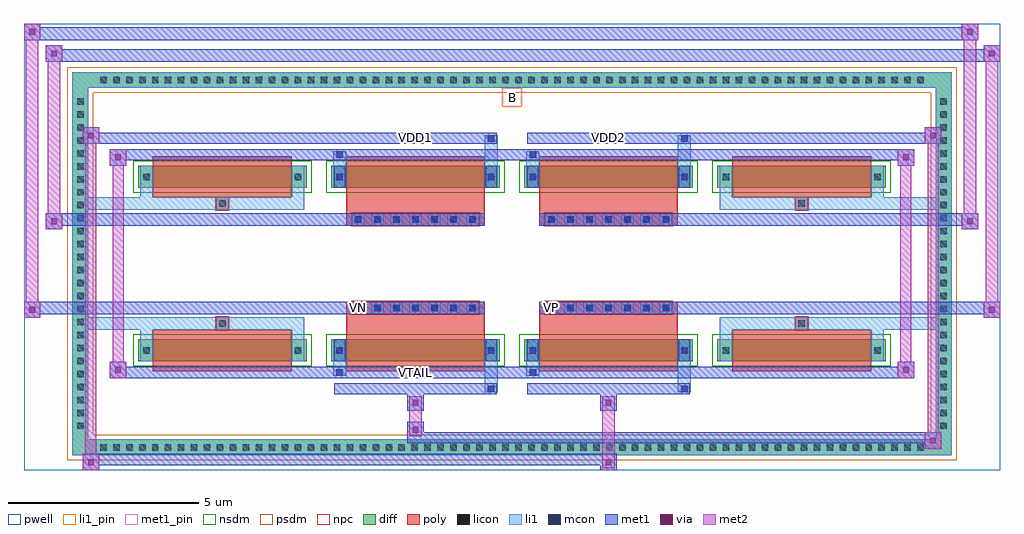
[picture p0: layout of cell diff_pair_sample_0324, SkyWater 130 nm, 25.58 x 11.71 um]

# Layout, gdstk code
import gdstk
lib = gdstk.Library(unit=1e-6, precision=5e-09)
def R(c, l, rs):  # rectangles x0, y0, x1, y1
    for r in rs: c.add(gdstk.rectangle(r[:2], r[2:], *l))
def A(c, l, x, y, w, h, nx, ny, dx, dy):  # array of equal rectangles
    R(c, l, [(x+i*dx, y+j*dy, x+i*dx+w, y+j*dy+h) for i in range(nx) for j in range(ny)])
def P(c, l, *ps):  # polygons
    for p in ps: c.add(gdstk.Polygon(p, *l))
pwell = (64, 44)
diff = (65, 20)
poly = (66, 20)
licon = (66, 44)
li1_pin = (67, 16)
li1 = (67, 20)
mcon = (67, 44)
met1_pin = (68, 16)
met1 = (68, 20)
via = (68, 44)
met2 = (69, 20)
nsdm = (93, 44)
psdm = (94, 20)
npc = (95, 20)

diff_pair_sample_0324 = lib.new_cell('diff_pair_sample_0324')
R(diff_pair_sample_0324, pwell, [(-12.79,-5.42,12.79,6.29), (-10.11,-3.61,-0.01,-0.795), (0.01,-3.61,10.11,-0.795), (-10.11,0.795,-0.01,3.61), (0.01,0.795,10.11,3.61)])
A(diff_pair_sample_0324, diff, -10.915, -5.02, 0.41, 0.41, 64, 2, 0.34, 9.63)
A(diff_pair_sample_0324, diff, -11.52, -4.455, 0.41, 0.41, 1, 26, 0, 0.34)
A(diff_pair_sample_0324, diff, 11.11, -4.455, 0.41, 0.41, 1, 26, 0, 0.34)
A(diff_pair_sample_0324, diff, -9.8, -2.565, 4.42, 0.58, 4, 2, 5.06, 4.55)
R(diff_pair_sample_0324, diff, [(-10.915,-5.02,10.915,-4.61), (-11.52,-4.455,-11.11,4.455), (11.11,-4.455,11.52,4.455), (-10.915,4.61,10.915,5.02)])
P(diff_pair_sample_0324, diff, [(11.52,5.02),(-11.52,5.02),(-11.52,-4.61),(-11.11,-4.61),(-11.11,4.61),(11.11,4.61),(11.11,-4.61),(-11.11,-4.61),(-11.52,-4.61),(-11.52,-5.02),(11.52,-5.02)])
A(diff_pair_sample_0324, poly, -9.41, -2.815, 3.64, 1.08, 4, 2, 5.06, 4.55)
A(diff_pair_sample_0324, poly, -4.195, -1.325, 0.33, 0.33, 7, 2, 0.5, 2.32)
A(diff_pair_sample_0324, poly, 0.865, -1.325, 0.33, 0.33, 7, 2, 0.5, 2.32)
R(diff_pair_sample_0324, poly, [(-7.755,-1.735,-7.425,-1.405), (-7.755,-1.735,-7.425,-1.405), (-4.35,-1.735,-0.71,-1.325), (0.71,-1.735,4.35,-1.325), (7.425,-1.735,7.755,-1.405), (7.425,-1.735,7.755,-1.405), (-4.35,-1.325,-0.71,-0.995), (0.71,-1.325,4.35,-0.995), (-4.35,0.995,-0.71,1.325), (0.71,0.995,4.35,1.325), (-4.35,1.325,-0.71,1.735), (0.71,1.325,4.35,1.735), (-7.755,1.405,-7.425,1.735), (-7.755,1.405,-7.425,1.735), (7.425,1.405,7.755,1.735), (7.425,1.405,7.755,1.735)])
A(diff_pair_sample_0324, licon, -10.795, -4.9, 0.17, 0.17, 64, 2, 0.34, 9.63)
A(diff_pair_sample_0324, licon, -11.4, -4.335, 0.17, 0.17, 1, 26, 0, 0.34)
A(diff_pair_sample_0324, licon, 11.23, -4.335, 0.17, 0.17, 1, 26, 0, 0.34)
A(diff_pair_sample_0324, licon, -4.115, -1.245, 0.17, 0.17, 7, 2, 0.5, 2.32)
A(diff_pair_sample_0324, licon, 0.945, -1.245, 0.17, 0.17, 7, 2, 0.5, 2.32)
R(diff_pair_sample_0324, licon, [(-9.66,-2.36,-9.49,-2.19), (-5.69,-2.36,-5.52,-2.19), (-4.6,-2.36,-4.43,-2.19), (-0.63,-2.36,-0.46,-2.19), (0.46,-2.36,0.63,-2.19), (4.43,-2.36,4.6,-2.19), (5.52,-2.36,5.69,-2.19), (9.49,-2.36,9.66,-2.19), (-7.675,-1.655,-7.505,-1.485), (7.505,-1.655,7.675,-1.485), (-7.675,1.485,-7.505,1.655), (7.505,1.485,7.675,1.655), (-9.66,2.19,-9.49,2.36), (-5.69,2.19,-5.52,2.36), (-4.6,2.19,-4.43,2.36), (-0.63,2.19,-0.46,2.36), (0.46,2.19,0.63,2.36), (4.43,2.19,4.6,2.36), (5.52,2.19,5.69,2.36), (9.49,2.19,9.66,2.36)])
R(diff_pair_sample_0324, li1_pin, [(-0.25,4.11,0.25,4.61)])
A(diff_pair_sample_0324, li1, -10.875, -4.98, 0.33, 0.33, 64, 2, 0.34, 9.63)
A(diff_pair_sample_0324, li1, -11.48, -4.415, 0.33, 0.33, 1, 26, 0, 0.34)
A(diff_pair_sample_0324, li1, 11.15, -4.415, 0.33, 0.33, 1, 26, 0, 0.34)
A(diff_pair_sample_0324, li1, -4.195, -1.325, 0.33, 0.33, 7, 2, 0.5, 2.32)
A(diff_pair_sample_0324, li1, 0.865, -1.325, 0.33, 0.33, 7, 2, 0.5, 2.32)
R(diff_pair_sample_0324, li1, [(-11.52,-5.02,-11.11,-4.61), (-11.52,-5.02,-11.11,-4.61), (-11.11,-5.02,11.11,-4.61), (11.11,-5.02,11.52,-4.61), (11.11,-5.02,11.52,-4.61), (-11.52,-4.61,-11.11,4.61), (11.11,-4.61,11.52,4.61), (-0.71,-3.37,-0.38,-2.565), (-0.63,-3.37,-0.46,-3.2), (4.35,-3.37,4.68,-2.565), (4.43,-3.37,4.6,-3.2), (-4.68,-2.94,-4.35,-2.565), (-4.6,-2.94,-4.43,-2.77), (0.38,-2.94,0.71,-2.565), (0.46,-2.94,0.63,-2.77), (-9.74,-2.565,-9.41,-1.985), (-5.77,-2.565,-5.44,-1.985), (-4.68,-2.565,-4.35,-1.985), (-0.71,-2.565,-0.38,-1.985), (0.38,-2.565,0.71,-1.985), (4.35,-2.565,4.68,-1.985), (5.44,-2.565,5.77,-1.985), (9.41,-2.565,9.74,-1.985), (-9.74,-2.44,-9.41,-2.11), (-5.77,-2.44,-5.44,-2.11), (-4.68,-2.44,-4.35,-2.11), (-0.71,-2.44,-0.38,-2.11), (0.38,-2.44,0.71,-2.11), (4.35,-2.44,4.68,-2.11), (5.44,-2.44,5.77,-2.11), (9.41,-2.44,9.74,-2.11), (-4.6,-2.36,-4.43,-2.19), (-4.6,-2.36,-4.43,-2.19), (-0.63,-2.36,-0.46,-2.19), (-0.63,-2.36,-0.46,-2.19), (0.46,-2.36,0.63,-2.19), (0.46,-2.36,0.63,-2.19), (4.43,-2.36,4.6,-2.19), (4.43,-2.36,4.6,-2.19), (-9.74,-1.985,-9.41,-1.405), (-5.77,-1.985,-5.44,-1.405), (5.44,-1.985,5.77,-1.405), (9.41,-1.985,9.74,-1.405), (-11.52,-1.735,-7.755,-1.405), (-9.74,-1.735,-7.755,-1.405), (-7.755,-1.735,-7.425,-1.405), (-7.425,-1.735,-5.44,-1.405), (5.44,-1.735,7.425,-1.405), (7.425,-1.735,7.755,-1.405), (7.425,-1.735,11.52,-1.405), (7.755,-1.735,9.74,-1.405), (-11.52,1.405,-7.755,1.735), (-9.74,1.405,-9.41,1.985), (-9.74,1.405,-7.755,1.735), (-7.755,1.405,-7.425,1.735), (-7.425,1.405,-5.44,1.735), (-5.77,1.405,-5.44,1.985), (5.44,1.405,5.77,1.985), (5.44,1.405,7.425,1.735), (7.425,1.405,7.755,1.735), (7.425,1.405,11.52,1.735), (7.755,1.405,9.74,1.735), (9.41,1.405,9.74,1.985), (-9.74,1.985,-9.41,2.565), (-5.77,1.985,-5.44,2.565), (-4.68,1.985,-4.35,2.565), (-0.71,1.985,-0.38,2.565), (0.38,1.985,0.71,2.565), (4.35,1.985,4.68,2.565), (5.44,1.985,5.77,2.565), (9.41,1.985,9.74,2.565), (-9.74,2.11,-9.41,2.44), (-5.77,2.11,-5.44,2.44), (-4.68,2.11,-4.35,2.44), (-0.71,2.11,-0.38,2.44), (0.38,2.11,0.71,2.44), (4.35,2.11,4.68,2.44), (5.44,2.11,5.77,2.44), (9.41,2.11,9.74,2.44), (-4.6,2.19,-4.43,2.36), (-4.6,2.19,-4.43,2.36), (-0.63,2.19,-0.46,2.36), (-0.63,2.19,-0.46,2.36), (0.46,2.19,0.63,2.36), (0.46,2.19,0.63,2.36), (4.43,2.19,4.6,2.36), (4.43,2.19,4.6,2.36), (-4.68,2.565,-4.35,2.94), (-0.71,2.565,-0.38,3.37), (0.38,2.565,0.71,2.94), (4.35,2.565,4.68,3.37), (-4.6,2.77,-4.43,2.94), (0.46,2.77,0.63,2.94), (-0.63,3.2,-0.46,3.37), (4.43,3.2,4.6,3.37), (-11.52,4.61,-11.11,5.02), (-11.52,4.61,-11.11,5.02), (-11.11,4.61,11.11,5.02), (11.11,4.61,11.52,5.02), (11.11,4.61,11.52,5.02)])
A(diff_pair_sample_0324, mcon, -4.115, -1.245, 0.17, 0.17, 7, 2, 0.5, 2.32)
A(diff_pair_sample_0324, mcon, 0.945, -1.245, 0.17, 0.17, 7, 2, 0.5, 2.32)
R(diff_pair_sample_0324, mcon, [(-0.63,-3.37,-0.46,-3.2), (4.43,-3.37,4.6,-3.2), (-4.6,-2.94,-4.43,-2.77), (0.46,-2.94,0.63,-2.77), (-4.6,-2.36,-4.43,-2.19), (-0.63,-2.36,-0.46,-2.19), (0.46,-2.36,0.63,-2.19), (4.43,-2.36,4.6,-2.19), (-4.6,2.19,-4.43,2.36), (-0.63,2.19,-0.46,2.36), (0.46,2.19,0.63,2.36), (4.43,2.19,4.6,2.36), (-4.6,2.77,-4.43,2.94), (0.46,2.77,0.63,2.94), (-0.63,3.2,-0.46,3.37), (4.43,3.2,4.6,3.37)])
R(diff_pair_sample_0324, met1_pin, [(-2.665,-2.98,-2.395,-2.71), (-4.165,-1.285,-3.895,-1.015), (0.895,-1.285,1.165,-1.015), (-2.665,3.16,-2.395,3.43), (2.395,3.16,2.665,3.43)])
A(diff_pair_sample_0324, met1, -4.175, -1.305, 0.29, 0.29, 7, 2, 0.5, 2.32)
A(diff_pair_sample_0324, met1, 0.885, -1.305, 0.29, 0.29, 7, 2, 0.5, 2.32)
R(diff_pair_sample_0324, met1, [(-11.25,-5.42,-10.82,-4.99), (2.315,-5.42,2.745,-4.99), (-11.25,-5.28,2.745,-4.99), (10.82,-4.85,11.25,-4.42), (-2.745,-4.71,11.25,-4.42), (-2.745,-4.57,-2.315,-4.14), (-2.745,-3.86,-2.315,-3.43), (2.315,-3.86,2.745,-3.43), (-4.66,-3.43,-0.4,-3.14), (-0.69,-3.43,-0.4,-3.14), (0.4,-3.43,4.66,-3.14), (4.37,-3.43,4.66,-3.14), (-10.54,-3,-10.11,-2.57), (-10.54,-3,-4.66,-2.71), (-4.66,-3,-4.37,-2.71), (-4.66,-3,-0.4,-2.71), (-0.4,-3,0.4,-2.71), (0.4,-3,0.69,-2.71), (0.4,-3,4.66,-2.71), (4.66,-3,10.54,-2.71), (10.11,-3,10.54,-2.57), (-4.66,-2.565,-4.37,-1.985), (-0.69,-2.565,-0.4,-1.985), (0.4,-2.565,0.69,-1.985), (4.37,-2.565,4.66,-1.985), (-4.66,-2.42,-4.37,-2.13), (-0.69,-2.42,-0.4,-2.13), (0.4,-2.42,0.69,-2.13), (4.37,-2.42,4.66,-2.13), (-12.79,-1.425,-12.36,-0.995), (12.36,-1.425,12.79,-0.995), (-12.79,-1.325,-0.71,-0.995), (-4.35,-1.325,-0.71,-0.995), (0.71,-1.325,4.35,-0.995), (0.71,-1.325,12.79,-0.995), (-12.22,0.895,-11.79,1.325), (11.79,0.895,12.22,1.325), (-12.22,0.995,-4.35,1.325), (-4.35,0.995,-0.71,1.325), (0.71,0.995,4.35,1.325), (4.35,0.995,12.22,1.325), (-4.66,1.985,-4.37,2.565), (-0.69,1.985,-0.4,2.565), (0.4,1.985,0.69,2.565), (4.37,1.985,4.66,2.565), (-4.66,2.13,-4.37,2.42), (-0.69,2.13,-0.4,2.42), (0.4,2.13,0.69,2.42), (4.37,2.13,4.66,2.42), (-10.54,2.57,-10.11,3), (10.11,2.57,10.54,3), (-10.54,2.71,-4.66,3), (-4.66,2.71,-4.37,3), (-4.66,2.71,-0.4,3), (-0.4,2.71,0.4,3), (0.4,2.71,0.69,3), (0.4,2.71,4.66,3), (4.66,2.71,10.54,3), (-11.25,3.14,-10.82,3.57), (-11.25,3.14,-4.66,3.43), (-4.66,3.14,-0.4,3.43), (-0.69,3.14,-0.4,3.43), (0.4,3.14,4.66,3.43), (4.37,3.14,4.66,3.43), (4.66,3.14,11.25,3.43), (10.82,3.14,11.25,3.57), (-12.22,5.29,-11.79,5.72), (-12.22,5.29,-10.11,5.62), (-10.11,5.29,10.11,5.62), (10.11,5.29,12.79,5.62), (12.36,5.29,12.79,5.72), (-12.79,5.86,-12.36,6.29), (-12.79,5.86,-10.11,6.19), (-10.11,5.86,10.11,6.19), (10.11,5.86,12.22,6.19), (11.79,5.86,12.22,6.29)])
R(diff_pair_sample_0324, via, [(-11.11,-5.28,-10.96,-5.13), (2.455,-5.28,2.605,-5.13), (10.96,-4.71,11.11,-4.56), (-2.605,-4.43,-2.455,-4.28), (-2.605,-3.72,-2.455,-3.57), (2.455,-3.72,2.605,-3.57), (-10.4,-2.86,-10.25,-2.71), (10.25,-2.86,10.4,-2.71), (-12.65,-1.285,-12.5,-1.135), (12.5,-1.285,12.65,-1.135), (-12.08,1.035,-11.93,1.185), (11.93,1.035,12.08,1.185), (-10.4,2.71,-10.25,2.86), (10.25,2.71,10.4,2.86), (-11.11,3.28,-10.96,3.43), (10.96,3.28,11.11,3.43), (-12.08,5.43,-11.93,5.58), (12.5,5.43,12.65,5.58), (-12.65,6,-12.5,6.15), (11.93,6,12.08,6.15)])
R(diff_pair_sample_0324, met2, [(-11.25,-5.42,-10.82,-4.99), (-11.18,-5.42,-10.89,3.57), (-10.89,-5.42,-10.82,-4.99), (-11.2,-5.37,-10.87,-5.04), (2.365,-5.37,2.695,-5.04), (2.365,-5.04,2.695,-3.81), (10.82,-4.85,11.25,-4.42), (10.89,-4.85,11.18,3.57), (11.18,-4.85,11.25,-4.42), (10.87,-4.8,11.2,-4.47), (-2.695,-4.52,-2.365,-4.19), (-2.695,-4.19,-2.365,-3.81), (-2.695,-3.81,-2.365,-3.48), (2.365,-3.81,2.695,-3.48), (-10.54,-3,-10.11,-2.57), (-10.47,-3,-10.18,3), (-10.18,-3,-10.11,-2.57), (10.11,-3,10.54,-2.57), (10.18,-3,10.47,3), (10.47,-3,10.54,-2.57), (-10.49,-2.95,-10.16,-2.62), (10.16,-2.95,10.49,-2.62), (-12.79,-1.425,-12.36,-0.995), (-12.74,-1.425,-12.41,6.29), (-12.41,-1.425,-12.36,-0.995), (12.36,-1.425,12.79,-0.995), (12.41,-1.425,12.74,5.72), (12.74,-1.425,12.79,-0.995), (-12.74,-1.375,-12.41,-1.045), (12.41,-1.375,12.74,-1.045), (-12.22,0.895,-11.79,1.325), (-12.17,0.895,-11.84,5.72), (-11.84,0.895,-11.79,1.325), (11.79,0.895,12.22,1.325), (11.84,0.895,12.17,6.29), (12.17,0.895,12.22,1.325), (-12.17,0.945,-11.84,1.275), (11.84,0.945,12.17,1.275), (-10.54,2.57,-10.11,3), (-10.18,2.57,-10.11,3), (10.11,2.57,10.54,3), (10.47,2.57,10.54,3), (-10.49,2.62,-10.16,2.95), (10.16,2.62,10.49,2.95), (-11.25,3.14,-10.82,3.57), (-10.89,3.14,-10.82,3.57), (10.82,3.14,11.25,3.57), (11.18,3.14,11.25,3.57), (-11.2,3.19,-10.87,3.52), (10.87,3.19,11.2,3.52), (-12.22,5.29,-11.79,5.72), (-11.84,5.29,-11.79,5.72), (12.36,5.29,12.79,5.72), (12.74,5.29,12.79,5.72), (-12.17,5.34,-11.84,5.67), (12.41,5.34,12.74,5.67), (-12.79,5.86,-12.36,6.29), (-12.41,5.86,-12.36,6.29), (11.79,5.86,12.22,6.29), (12.17,5.86,12.22,6.29), (-12.74,5.91,-12.41,6.24), (11.84,5.91,12.17,6.24)])
A(diff_pair_sample_0324, nsdm, -9.93, -2.695, 4.68, 0.84, 4, 2, 5.06, 4.55)
P(diff_pair_sample_0324, psdm, [(11.65,5.15),(-11.65,5.15),(-11.65,-4.48),(-10.98,-4.48),(-10.98,4.48),(10.98,4.48),(10.98,-4.48),(-10.98,-4.48),(-11.65,-4.48),(-11.65,-5.15),(11.65,-5.15)])
A(diff_pair_sample_0324, npc, -4.215, -1.345, 0.37, 0.37, 7, 2, 0.5, 2.32)
A(diff_pair_sample_0324, npc, 0.845, -1.345, 0.37, 0.37, 7, 2, 0.5, 2.32)
R(diff_pair_sample_0324, npc, [(-7.775,-1.755,-7.405,-1.385), (7.405,-1.755,7.775,-1.385), (-4.215,-1.345,-3.345,-0.975), (-4.215,-1.345,-3.345,-0.975), (-3.715,-1.345,-2.845,-0.975), (-3.715,-1.345,-2.845,-0.975), (-3.215,-1.345,-2.345,-0.975), (-3.215,-1.345,-2.345,-0.975), (-2.715,-1.345,-1.845,-0.975), (-2.715,-1.345,-1.845,-0.975), (-2.215,-1.345,-1.345,-0.975), (-2.215,-1.345,-1.345,-0.975), (-1.715,-1.345,-0.845,-0.975), (-1.715,-1.345,-0.845,-0.975), (0.845,-1.345,1.715,-0.975), (0.845,-1.345,1.715,-0.975), (1.345,-1.345,2.215,-0.975), (1.345,-1.345,2.215,-0.975), (1.845,-1.345,2.715,-0.975), (1.845,-1.345,2.715,-0.975), (2.345,-1.345,3.215,-0.975), (2.345,-1.345,3.215,-0.975), (2.845,-1.345,3.715,-0.975), (2.845,-1.345,3.715,-0.975), (3.345,-1.345,4.215,-0.975), (3.345,-1.345,4.215,-0.975), (-4.215,0.975,-3.345,1.345), (-4.215,0.975,-3.345,1.345), (-3.715,0.975,-2.845,1.345), (-3.715,0.975,-2.845,1.345), (-3.215,0.975,-2.345,1.345), (-3.215,0.975,-2.345,1.345), (-2.715,0.975,-1.845,1.345), (-2.715,0.975,-1.845,1.345), (-2.215,0.975,-1.345,1.345), (-2.215,0.975,-1.345,1.345), (-1.715,0.975,-0.845,1.345), (-1.715,0.975,-0.845,1.345), (0.845,0.975,1.715,1.345), (0.845,0.975,1.715,1.345), (1.345,0.975,2.215,1.345), (1.345,0.975,2.215,1.345), (1.845,0.975,2.715,1.345), (1.845,0.975,2.715,1.345), (2.345,0.975,3.215,1.345), (2.345,0.975,3.215,1.345), (2.845,0.975,3.715,1.345), (2.845,0.975,3.715,1.345), (3.345,0.975,4.215,1.345), (3.345,0.975,4.215,1.345), (-7.775,1.385,-7.405,1.755), (7.405,1.385,7.775,1.755)])
diff_pair_sample_0324.add(gdstk.Label('VTAIL', (-2.53,-2.845), layer=68, texttype=5))
diff_pair_sample_0324.add(gdstk.Label('VN', (-4.03,-1.15), layer=68, texttype=5))
diff_pair_sample_0324.add(gdstk.Label('VP', (1.03,-1.15), layer=68, texttype=5))
diff_pair_sample_0324.add(gdstk.Label('B', (0,4.36), layer=67, texttype=5))
diff_pair_sample_0324.add(gdstk.Label('VDD2', (2.53,3.295), layer=68, texttype=5))
diff_pair_sample_0324.add(gdstk.Label('VDD1', (-2.53,3.295), layer=68, texttype=5))

lib.write_gds('diff_pair_sample_0324.gds')
